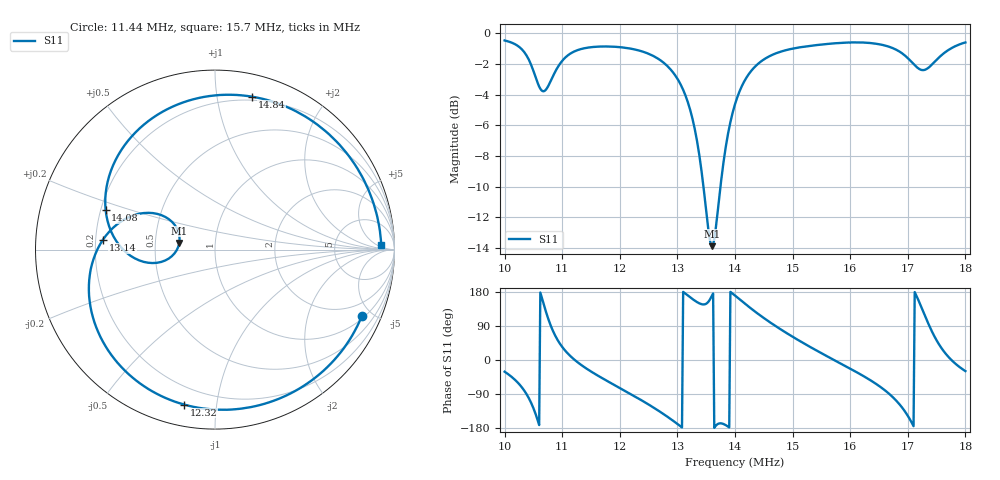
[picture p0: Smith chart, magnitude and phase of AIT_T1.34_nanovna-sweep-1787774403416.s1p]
! NanoVNA Web complex sweep
! Processing: original sample grid, no browser smoothing
# Hz S RI R 50
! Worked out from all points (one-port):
!   401 points, 10 MHz to 18 MHz, reference 50 ohm
!   lowest |S11| = -13.9 dB at 13.6 MHz (marker M1), VSWR 1.51, Z = 33.3 + j2.54 ohm
!   |S11| at or under -10 dB: 13.45 MHz to 13.75 MHz (295.1 kHz wide, 2.17 % of centre)
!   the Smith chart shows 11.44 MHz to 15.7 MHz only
!   S11 on the Smith chart (normalised r, x): 11.44 MHz: 1.13, -4.32; 12.32 MHz: 0.11, -0.81; 13.14 MHz: 0.23, +0.04; 14.08 MHz: 0.22, +0.17; 14.84 MHz: 0.17, +1.26; 15.7 MHz: 23, +8
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1e7  0.8135 -0.4865
1.02e7  0.5234 -0.7534
1.038e7  0.00184 -0.8471
1.048e7  -0.383 -0.6705
1.06e7  -0.6635 -0.0969
1.078e7  -0.1086 0.6779
1.1e7  0.67 0.4611
1.144e7  0.8169 -0.3725
1.2e7  0.2502 -0.866
1.232e7  -0.1721 -0.8632
1.3e7  -0.6973 -0.1394
1.314e7  -0.6249 0.0541
1.336e7  -0.3715 0.2049
1.36e7  -0.1992 0.0365
1.4e7  -0.5787 0.1005
1.408e7  -0.6092 0.2201
1.448e7  -0.3194 0.752
1.484e7  0.2068 0.852
1.5e7  0.427 0.7826
1.57e7  0.9264 0.0251
1.6e7  0.8585 -0.3637
1.664e7  0.0861 -0.9043
1.684e7  -0.3578 -0.7993
1.7e7  -0.6985 -0.4488
1.718e7  -0.7198 0.2716
1.738e7  0.0264 0.7778
1.764e7  0.813 0.296
1.8e7  0.8145 -0.4568
